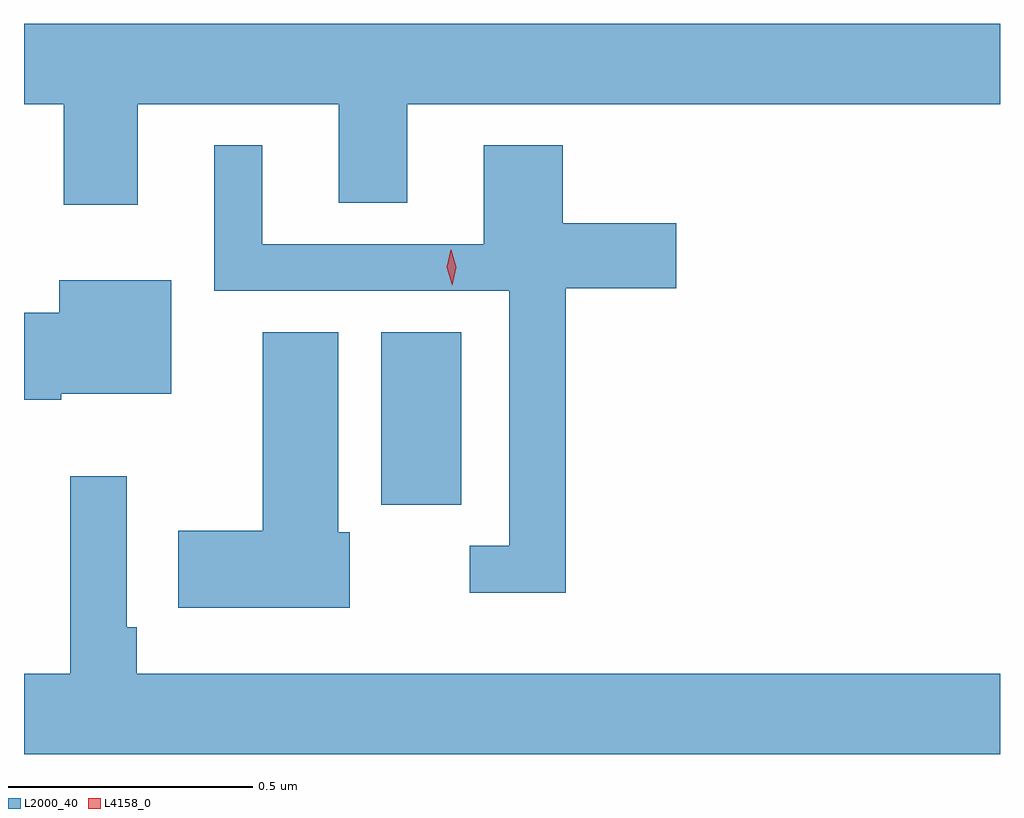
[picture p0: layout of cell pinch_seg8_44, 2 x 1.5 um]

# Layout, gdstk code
import gdstk
lib = gdstk.Library(unit=1e-6, precision=1e-09)
def R(c, l, rs):  # rectangles x0, y0, x1, y1
    for r in rs: c.add(gdstk.rectangle(r[:2], r[2:], *l))
def P(c, l, *ps):  # polygons
    for p in ps: c.add(gdstk.Polygon(p, *l))
L2000_40 = (2000, 40)
L4158_0 = (4158, 0)

pinch_seg8_44 = lib.new_cell('pinch_seg8_44')
R(pinch_seg8_44, L2000_40, [(985.418,1151.643,985.582,1151.996)])
P(pinch_seg8_44, L2000_40, [(984.919,1152.464),(985.331,1152.464),(985.331,1152.262),(985.471,1152.262),(985.471,1152.464),(986.686,1152.464),(986.686,1152.628),(984.686,1152.628),(984.686,1152.464),(984.767,1152.464),(984.767,1152.258),(984.919,1152.258)],
  [(985.796,1152.086),(986.023,1152.086),(986.023,1152.22),(985.79,1152.22),(985.79,1152.379),(985.628,1152.379),(985.628,1152.177),(985.174,1152.177),(985.174,1152.379),(985.076,1152.379),(985.076,1152.081),(985.68,1152.081),(985.68,1151.559),(985.599,1151.559),(985.599,1151.462),(985.796,1151.462)],
  [(984.762,1151.87),(984.988,1151.87),(984.988,1152.103),(984.758,1152.103),(984.758,1152.036),(984.686,1152.036),(984.686,1151.858),(984.762,1151.858)],
  [(985.354,1151.586),(985.33,1151.586),(985.33,1151.996),(985.175,1151.996),(985.175,1151.59),(985.002,1151.59),(985.002,1151.432),(985.354,1151.432)],
  [(986.686,1151.296),(984.917,1151.296),(984.917,1151.392),(984.897,1151.392),(984.897,1151.701),(984.781,1151.701),(984.781,1151.296),(984.686,1151.296),(984.686,1151.132),(986.686,1151.132)])
P(pinch_seg8_44, L4158_0, [(985.564,1152.093),(985.564,1152.093),(985.552,1152.129),(985.56,1152.165),(985.561,1152.165),(985.561,1152.165),(985.572,1152.13),(985.564,1152.093)])

lib.write_gds('pinch_seg8_44.gds')
